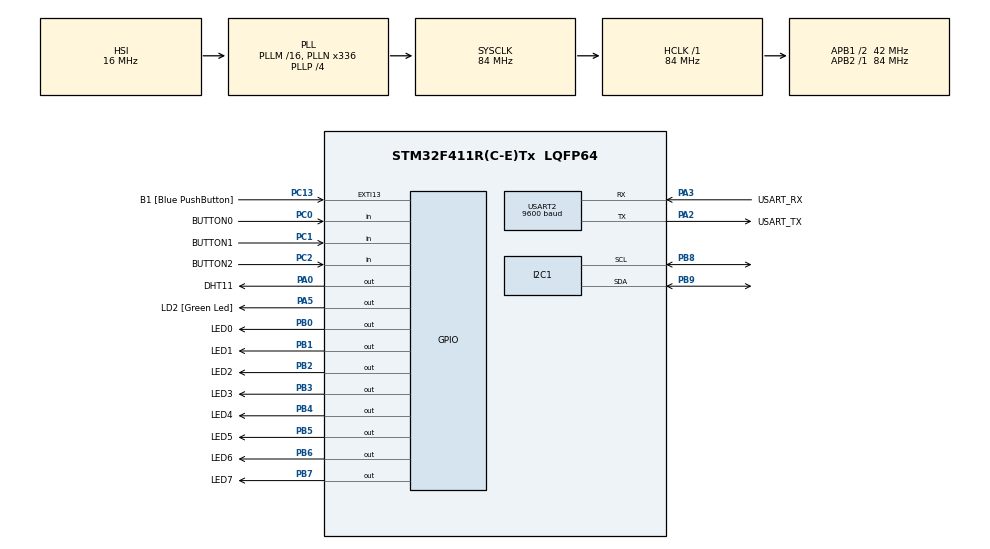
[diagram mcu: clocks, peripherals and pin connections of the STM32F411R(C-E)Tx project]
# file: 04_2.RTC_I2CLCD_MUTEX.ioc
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FREERTOS.Mutexes01=myMutex01,Dynamic,NULL
FREERTOS.Tasks01=defaultTask,24,128,StartDefaultTask,Default,NULL,Dynamic,NULL,NULL;myTask01,8,128,StartTask01,Default,NULL,Dynamic,NULL,NULL;myTask02,8,128,StartTask02,Default,NULL,Dynamic,NULL,NULL
FREERTOS.configUSE_NEWLIB_REENTRANT=1
Mcu.Family=STM32F4
Mcu.Name=STM32F411R(C-E)Tx
Mcu.Package=LQFP64
NVIC.PriorityGroup=NVIC_PRIORITYGROUP_4
NVIC.TIM1_UP_TIM10_IRQn=true\:5\:0\:false\:false\:true\:false\:false\:true
NVIC.TIM2_IRQn=true\:5\:0\:false\:false\:true\:true\:true\:true
NVIC.TimeBase=TIM1_UP_TIM10_IRQn
NVIC.TimeBaseIP=TIM10
NVIC.USART2_IRQn=true\:5\:0\:false\:false\:true\:true\:true\:true
PA0-WKUP.GPIO_Label=DHT11
PA0-WKUP.Signal=GPIO_Output
PA13.GPIO_Label=TMS
PA13.Mode=Serial_Wire
PA13.Signal=SYS_JTMS-SWDIO
PA14.GPIO_Label=TCK
PA14.Mode=Serial_Wire
PA14.Signal=SYS_JTCK-SWCLK
PA2.GPIO_Label=USART_TX
PA2.Mode=Asynchronous
PA2.Signal=USART2_TX
PA3.GPIO_Label=USART_RX
PA3.Mode=Asynchronous
PA3.Signal=USART2_RX
PA5.GPIO_Label=LD2 [Green Led]
PA5.Signal=GPIO_Output
PB0.GPIO_Label=LED0
PB0.Signal=GPIO_Output
PB1.GPIO_Label=LED1
PB1.Signal=GPIO_Output
PB2.GPIO_Label=LED2
PB2.Signal=GPIO_Output
PB3.GPIO_Label=LED3
PB3.Signal=GPIO_Output
PB4.GPIO_Label=LED4
PB4.Signal=GPIO_Output
PB5.GPIO_Label=LED5
PB5.Signal=GPIO_Output
PB6.GPIO_Label=LED6
PB6.Signal=GPIO_Output
PB7.GPIO_Label=LED7
PB7.Signal=GPIO_Output
PB8.Mode=I2C
PB8.Signal=I2C1_SCL
PB9.Mode=I2C
PB9.Signal=I2C1_SDA
PC0.GPIO_Label=BUTTON0
PC0.Signal=GPIO_Input
PC1.GPIO_Label=BUTTON1
PC1.Signal=GPIO_Input
PC13-ANTI_TAMP.GPIO_Label=B1 [Blue PushButton]
PC13-ANTI_TAMP.GPIO_ModeDefaultEXTI=GPIO_MODE_IT_FALLING
PC13-ANTI_TAMP.Signal=GPXTI13
PC14-OSC32_IN.Mode=LSE-External-Oscillator
PC14-OSC32_IN.Signal=RCC_OSC32_IN
PC15-OSC32_OUT.Mode=LSE-External-Oscillator
PC15-OSC32_OUT.Signal=RCC_OSC32_OUT
PC2.GPIO_Label=BUTTON2
PC2.Signal=GPIO_Input
PH0\ -\ OSC_IN.Mode=HSE-External-Clock-Source
PH0\ -\ OSC_IN.Signal=RCC_OSC_IN
PH1\ -\ OSC_OUT.Mode=HSE-External-Clock-Source
PH1\ -\ OSC_OUT.Signal=RCC_OSC_OUT
ProjectManager.HeapSize=0x200
ProjectManager.StackSize=0x400
ProjectManager.TargetToolchain=STM32CubeIDE
RCC.48MHZClocksFreq_Value=84000000
RCC.AHBFreq_Value=84000000
RCC.APB1CLKDivider=RCC_HCLK_DIV2
RCC.APB1Freq_Value=42000000
RCC.APB1TimFreq_Value=84000000
RCC.APB2Freq_Value=84000000
RCC.APB2TimFreq_Value=84000000
RCC.CortexFreq_Value=84000000
RCC.FLatency-AdvancedSettings=FLASH_LATENCY_2
RCC.HCLKFreq_Value=84000000
RCC.HSE_VALUE=8000000
RCC.HSI_VALUE=16000000
RCC.PLLN=336
RCC.PLLP=RCC_PLLP_DIV4
RCC.SYSCLKFreq_VALUE=84000000
RCC.SYSCLKSource=RCC_SYSCLKSOURCE_PLLCLK
RCC.VCOOutputFreq_Value=336000000
RTC.Date=24
RTC.Hours=13
RTC.Minutes=22
RTC.Month=RTC_MONTH_MAY
RTC.WeekDay=RTC_WEEKDAY_FRIDAY
RTC.Year=24
TIM11.Period=65535
TIM11.Prescaler=84-1
TIM2.Period=1000-1
TIM2.Prescaler=84-1
USART2.BaudRate=9600
USART2.VirtualMode=VM_ASYNC
VP_FREERTOS_VS_CMSIS_V2.Mode=CMSIS_V2
VP_RTC_VS_RTC_Activate.Mode=RTC_Enabled
VP_RTC_VS_RTC_Calendar.Mode=RTC_Calendar
VP_SYS_VS_tim10.Mode=TIM10
VP_TIM11_VS_ClockSourceINT.Mode=Enable_Timer
VP_TIM2_VS_ClockSourceINT.Mode=Internal
board=NUCLEO-F411RE

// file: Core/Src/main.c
/* USER CODE BEGIN Header */
/**
  ******************************************************************************
  * @file           : main.c
  * @brief          : Main program body
  ******************************************************************************
  * @attention
  *
  * <h2><center>&copy; Copyright (c) 2024 STMicroelectronics.
  * All rights reserved.</center></h2>
  *
  * This software component is licensed by ST under BSD 3-Clause license,
  * the "License"; You may not use this file except in compliance with the
  * License. You may obtain a copy of the License at:
  *                        opensource.org/licenses/BSD-3-Clause
  *
  ******************************************************************************
  */
/* USER CODE END Header */
#include "main.h"
#include "cmsis_os.h"

I2C_HandleTypeDef hi2c1;

RTC_HandleTypeDef hrtc;

TIM_HandleTypeDef htim2;
TIM_HandleTypeDef htim11;

UART_HandleTypeDef huart2;

/* Definitions for defaultTask */
osThreadId_t defaultTaskHandle;
const osThreadAttr_t defaultTask_attributes = {
  .name = "defaultTask",
  .stack_size = 128 * 4,
  .priority = (osPriority_t) osPriorityNormal,
};
/* Definitions for myTask01 */
osThreadId_t myTask01Handle;
const osThreadAttr_t myTask01_attributes = {
  .name = "myTask01",
  .stack_size = 128 * 4,
  .priority = (osPriority_t) osPriorityLow,
};
/* Definitions for myTask02 */
osThreadId_t myTask02Handle;
const osThreadAttr_t myTask02_attributes = {
  .name = "myTask02",
  .stack_size = 128 * 4,
  .priority = (osPriority_t) osPriorityLow,
};
/* Definitions for myMutex01 */
osMutexId_t myMutex01Handle;
const osMutexAttr_t myMutex01_attributes = {
  .name = "myMutex01"
};
/* USER CODE BEGIN PV */
uint8_t rx_data;

volatile int TIM2_1ms_counter=0;
volatile int TIM3_10ms_counter = 0;
volatile int TIM2_DHT11_counter = 0;
/* USER CODE END PV */

void SystemClock_Config(void);
static void MX_GPIO_Init(void);
static void MX_USART2_UART_Init(void);
static void MX_TIM11_Init(void);
static void MX_TIM2_Init(void);
static void MX_RTC_Init(void);
static void MX_I2C1_Init(void);
void StartDefaultTask(void *argument);
void StartTask01(void *argument);
void StartTask02(void *argument);

/* USER CODE BEGIN PFP */
extern void led_all_on(void);
extern void led_all_off(void);
extern void led2_toggle(void);
extern void led_on_up();
extern void led_on_down();
extern void ledbar0_toggle(void);
extern void ledbar1_toggle(void);
extern void ledbar2_toggle(void);
extern void led_main(void);
extern void button0_check(void);
extern void delay_us(unsigned int us);
extern void DHT11_Init(void);
extern void i2c_lcd_init(void);
extern unsigned char bcd2dec(unsigned char byte);
extern void pc_command_processing();
extern void get_rtc_time(void);
extern void get_rtc_date(void);

/* USER CODE END PFP */

/* USER CODE BEGIN 0 */
//-- call by SysTick_Handler of stm32f4xx_it.c
// SysTick_Handler : ARM core default timer
volatile int t1ms_counter=0;
void HAL_SYSTICK_Handler()
{
	t1ms_counter++;   // 1ms timer counter
}
//------------ printf start -----------------------
#ifdef __GNUC__    // Add for printf
/* With GCC, small printf (option LD Linker->Libraries->Small printf
   set to 'Yes') calls __io_putchar() */
#define PUTCHAR_PROTOTYPE int __io_putchar(int ch)
#else
#define PUTCHAR_PROTOTYPE int fputc(int ch, FILE *f)
#endif /* __GNUC__ */
/**
  * @brief  Retargets the C library printf function to the USART.
  * @param  None
  * @retval None
  */
PUTCHAR_PROTOTYPE   // Add for printf
{
  /* Place your implementation of fputc here */
  /* e.g. write a character to the USART2 and Loop until the end of transmission */
  HAL_UART_Transmit(&huart2, (uint8_t *)&ch, 1, 0xFFFF);

  return ch;
}
//-------------------- printf end --------------------
/* USER CODE END 0 */

int main(void)
{
  /* USER CODE BEGIN 1 */
	int led_state=0;
  /* USER CODE END 1 */

  /* MCU Configuration--------------------------------------------------------*/

  /* Reset of all peripherals, Initializes the Flash interface and the Systick. */
  HAL_Init();

  /* Configure the system clock */
  SystemClock_Config();

  /* Initialize all configured peripherals */
  MX_GPIO_Init();
  MX_USART2_UART_Init();
  MX_TIM11_Init();
  MX_TIM2_Init();
  MX_RTC_Init();
  MX_I2C1_Init();
  /* USER CODE BEGIN 2 */
  HAL_UART_Receive_IT(&huart2, &rx_data, 1);   // assign RX INT
  HAL_TIM_Base_Start_IT(&htim2);  // ADD_SIKWON_0523
  HAL_TIM_Base_Start_IT(&htim11);  // ADD_SIKWON_0523
//  DHT11_Init();
  i2c_lcd_init(); // warning lcd should be connected(because I2C protocol doesn't working)
  /* USER CODE END 2 */

  /* Init scheduler */
  osKernelInitialize();
  /* Create the mutex(es) */
  /* creation of myMutex01 */
  myMutex01Handle = osMutexNew(&myMutex01_attributes);

  /* Create the thread(s) */
  /* creation of defaultTask */
  defaultTaskHandle = osThreadNew(StartDefaultTask, NULL, &defaultTask_attributes);

  /* creation of myTask01 */
  myTask01Handle = osThreadNew(StartTask01, NULL, &myTask01_attributes);

  /* creation of myTask02 */
  myTask02Handle = osThreadNew(StartTask02, NULL, &myTask02_attributes);

  /* Start scheduler */
  osKernelStart();

  /* We should never get here as control is now taken by the scheduler */
  /* Infinite loop */
  /* USER CODE BEGIN WHILE */
  while (1)
  {
//	  led_on_up();
//	  led_on_down();

#if 0
	  if (t1ms_counter >= 500)
	  {
		  t1ms_counter=0;
		  switch(led_state)
		  {
		  case 0:
			  led_all_on();
			  break;
		  case 1:
			  led_all_off();
			  break;
		  case 2:
			  led2_toggle();
			  break;
		  }
		  led_state++;
		  led_state %=3;
	  }
#endif
    /* USER CODE END WHILE */

    /* USER CODE BEGIN 3 */
// enter here !!!!!!
  }
  /* USER CODE END 3 */
}

void SystemClock_Config(void)
{
  RCC_OscInitTypeDef RCC_OscInitStruct = {0};
  RCC_ClkInitTypeDef RCC_ClkInitStruct = {0};

  /** Configure the main internal regulator output voltage
  */
  __HAL_RCC_PWR_CLK_ENABLE();
  __HAL_PWR_VOLTAGESCALING_CONFIG(PWR_REGULATOR_VOLTAGE_SCALE1);
  /** Initializes the RCC Oscillators according to the specified parameters
  * in the RCC_OscInitTypeDef structure.
  */
  RCC_OscInitStruct.OscillatorType = RCC_OSCILLATORTYPE_HSI|RCC_OSCILLATORTYPE_LSI;
  RCC_OscInitStruct.HSIState = RCC_HSI_ON;
  RCC_OscInitStruct.HSICalibrationValue = RCC_HSICALIBRATION_DEFAULT;
  RCC_OscInitStruct.LSIState = RCC_LSI_ON;
  RCC_OscInitStruct.PLL.PLLState = RCC_PLL_ON;
  RCC_OscInitStruct.PLL.PLLSource = RCC_PLLSOURCE_HSI;
  RCC_OscInitStruct.PLL.PLLM = 16;
  RCC_OscInitStruct.PLL.PLLN = 336;
  RCC_OscInitStruct.PLL.PLLP = RCC_PLLP_DIV4;
  RCC_OscInitStruct.PLL.PLLQ = 4;
  if (HAL_RCC_OscConfig(&RCC_OscInitStruct) != HAL_OK)
  {
    Error_Handler();
  }
  /** Initializes the CPU, AHB and APB buses clocks
  */
  RCC_ClkInitStruct.ClockType = RCC_CLOCKTYPE_HCLK|RCC_CLOCKTYPE_SYSCLK
                              |RCC_CLOCKTYPE_PCLK1|RCC_CLOCKTYPE_PCLK2;
  RCC_ClkInitStruct.SYSCLKSource = RCC_SYSCLKSOURCE_PLLCLK;
  RCC_ClkInitStruct.AHBCLKDivider = RCC_SYSCLK_DIV1;
  RCC_ClkInitStruct.APB1CLKDivider = RCC_HCLK_DIV2;
  RCC_ClkInitStruct.APB2CLKDivider = RCC_HCLK_DIV1;

  if (HAL_RCC_ClockConfig(&RCC_ClkInitStruct, FLASH_LATENCY_2) != HAL_OK)
  {
    Error_Handler();
  }
}

static void MX_I2C1_Init(void)
{

  hi2c1.Instance = I2C1;
  hi2c1.Init.ClockSpeed = 100000;
  hi2c1.Init.DutyCycle = I2C_DUTYCYCLE_2;
  hi2c1.Init.OwnAddress1 = 0;
  hi2c1.Init.AddressingMode = I2C_ADDRESSINGMODE_7BIT;
  hi2c1.Init.DualAddressMode = I2C_DUALADDRESS_DISABLE;
  hi2c1.Init.OwnAddress2 = 0;
  hi2c1.Init.GeneralCallMode = I2C_GENERALCALL_DISABLE;
  hi2c1.Init.NoStretchMode = I2C_NOSTRETCH_DISABLE;
  if (HAL_I2C_Init(&hi2c1) != HAL_OK)
  {
    Error_Handler();
  }

}

static void MX_RTC_Init(void)
{

  RTC_TimeTypeDef sTime = {0};
  RTC_DateTypeDef sDate = {0};

  /** Initialize RTC Only
  */
  hrtc.Instance = RTC;
  hrtc.Init.HourFormat = RTC_HOURFORMAT_24;
  hrtc.Init.AsynchPrediv = 127;
  hrtc.Init.SynchPrediv = 255;
  hrtc.Init.OutPut = RTC_OUTPUT_DISABLE;
  hrtc.Init.OutPutPolarity = RTC_OUTPUT_POLARITY_HIGH;
  hrtc.Init.OutPutType = RTC_OUTPUT_TYPE_OPENDRAIN;
  if (HAL_RTC_Init(&hrtc) != HAL_OK)
  {
    Error_Handler();
  }

  /** Initialize RTC and set the Time and Date
  */
  sTime.Hours = 0x13;
  sTime.Minutes = 0x22;
  sTime.Seconds = 0x0;
  sTime.DayLightSaving = RTC_DAYLIGHTSAVING_NONE;
  sTime.StoreOperation = RTC_STOREOPERATION_RESET;
  if (HAL_RTC_SetTime(&hrtc, &sTime, RTC_FORMAT_BCD) != HAL_OK)
  {
    Error_Handler();
  }
  sDate.WeekDay = RTC_WEEKDAY_FRIDAY;
  sDate.Month = RTC_MONTH_MAY;
  sDate.Date = 0x24;
  sDate.Year = 0x24;

  if (HAL_RTC_SetDate(&hrtc, &sDate, RTC_FORMAT_BCD) != HAL_OK)
  {
    Error_Handler();
  }

}

static void MX_TIM2_Init(void)
{

  TIM_ClockConfigTypeDef sClockSourceConfig = {0};
  TIM_MasterConfigTypeDef sMasterConfig = {0};

  htim2.Instance = TIM2;
  htim2.Init.Prescaler = 84-1;
  htim2.Init.CounterMode = TIM_COUNTERMODE_UP;
  htim2.Init.Period = 1000-1;
  htim2.Init.ClockDivision = TIM_CLOCKDIVISION_DIV1;
  htim2.Init.AutoReloadPreload = TIM_AUTORELOAD_PRELOAD_DISABLE;
  if (HAL_TIM_Base_Init(&htim2) != HAL_OK)
  {
    Error_Handler();
  }
  sClockSourceConfig.ClockSource = TIM_CLOCKSOURCE_INTERNAL;
  if (HAL_TIM_ConfigClockSource(&htim2, &sClockSourceConfig) != HAL_OK)
  {
    Error_Handler();
  }
  sMasterConfig.MasterOutputTrigger = TIM_TRGO_RESET;
  sMasterConfig.MasterSlaveMode = TIM_MASTERSLAVEMODE_DISABLE;
  if (HAL_TIMEx_MasterConfigSynchronization(&htim2, &sMasterConfig) != HAL_OK)
  {
    Error_Handler();
  }

}

static void MX_TIM11_Init(void)
{

  htim11.Instance = TIM11;
  htim11.Init.Prescaler = 84-1;
  htim11.Init.CounterMode = TIM_COUNTERMODE_UP;
  htim11.Init.Period = 65535;
  htim11.Init.ClockDivision = TIM_CLOCKDIVISION_DIV1;
  htim11.Init.AutoReloadPreload = TIM_AUTORELOAD_PRELOAD_DISABLE;
  if (HAL_TIM_Base_Init(&htim11) != HAL_OK)
  {
    Error_Handler();
  }

}

static void MX_USART2_UART_Init(void)
{

  huart2.Instance = USART2;
  huart2.Init.BaudRate = 9600;
  huart2.Init.WordLength = UART_WORDLENGTH_8B;
  huart2.Init.StopBits = UART_STOPBITS_1;
  huart2.Init.Parity = UART_PARITY_NONE;
  huart2.Init.Mode = UART_MODE_TX_RX;
  huart2.Init.HwFlowCtl = UART_HWCONTROL_NONE;
  huart2.Init.OverSampling = UART_OVERSAMPLING_16;
  if (HAL_UART_Init(&huart2) != HAL_OK)
  {
    Error_Handler();
  }

}

static void MX_GPIO_Init(void)
{
  GPIO_InitTypeDef GPIO_InitStruct = {0};

  /* GPIO Ports Clock Enable */
  __HAL_RCC_GPIOC_CLK_ENABLE();
  __HAL_RCC_GPIOH_CLK_ENABLE();
  __HAL_RCC_GPIOA_CLK_ENABLE();
  __HAL_RCC_GPIOB_CLK_ENABLE();

  /*Configure GPIO pin Output Level */
  HAL_GPIO_WritePin(GPIOA, DHT11_Pin|LD2_Pin, GPIO_PIN_RESET);

  /*Configure GPIO pin Output Level */
  HAL_GPIO_WritePin(GPIOB, LED0_Pin|LED1_Pin|LED2_Pin|LED3_Pin
                          |LED4_Pin|LED5_Pin|LED6_Pin|LED7_Pin, GPIO_PIN_RESET);

  /*Configure GPIO pin : B1_Pin */
  GPIO_InitStruct.Pin = B1_Pin;
  GPIO_InitStruct.Mode = GPIO_MODE_IT_FALLING;
  GPIO_InitStruct.Pull = GPIO_NOPULL;
  HAL_GPIO_Init(B1_GPIO_Port, &GPIO_InitStruct);

  /*Configure GPIO pins : BUTTON0_Pin BUTTON1_Pin BUTTON2_Pin */
  GPIO_InitStruct.Pin = BUTTON0_Pin|BUTTON1_Pin|BUTTON2_Pin;
  GPIO_InitStruct.Mode = GPIO_MODE_INPUT;
  GPIO_InitStruct.Pull = GPIO_NOPULL;
  HAL_GPIO_Init(GPIOC, &GPIO_InitStruct);

  /*Configure GPIO pins : DHT11_Pin LD2_Pin */
  GPIO_InitStruct.Pin = DHT11_Pin|LD2_Pin;
  GPIO_InitStruct.Mode = GPIO_MODE_OUTPUT_PP;
  GPIO_InitStruct.Pull = GPIO_NOPULL;
  GPIO_InitStruct.Speed = GPIO_SPEED_FREQ_LOW;
  HAL_GPIO_Init(GPIOA, &GPIO_InitStruct);

  /*Configure GPIO pins : LED0_Pin LED1_Pin LED2_Pin LED3_Pin
                           LED4_Pin LED5_Pin LED6_Pin LED7_Pin */
  GPIO_InitStruct.Pin = LED0_Pin|LED1_Pin|LED2_Pin|LED3_Pin
                          |LED4_Pin|LED5_Pin|LED6_Pin|LED7_Pin;
  GPIO_InitStruct.Mode = GPIO_MODE_OUTPUT_PP;
  GPIO_InitStruct.Pull = GPIO_NOPULL;
  GPIO_InitStruct.Speed = GPIO_SPEED_FREQ_LOW;
  HAL_GPIO_Init(GPIOB, &GPIO_InitStruct);

}

void StartDefaultTask(void *argument)
{
  /* USER CODE BEGIN 5 */
  /* Infinite loop */
  for(;;)  // while(1)
  {
	//button0_check();
	pc_command_processing();
    osDelay(1);
  }
  /* USER CODE END 5 */
}

void StartTask01(void *argument)
{
  /* USER CODE BEGIN StartTask01 */
  /* Infinite loop */
  for(;;)
  {
	if(osMutexWait(myMutex01Handle,1000) == osOK){
		// locking process
		// Prevents task switching from happening.
		get_rtc_date();
		osMutexRelease(myMutex01Handle); //unlocking process
		// Allow task switching to occur.
	}
    osDelay(1);
  }
  /* USER CODE END StartTask01 */
}

void StartTask02(void *argument)
{
  /* USER CODE BEGIN StartTask02 */
  /* Infinite loop */
	for (;;) {
		if (osMutexWait(myMutex01Handle, 1000) == osOK) {
			// locking process
			// Prevents task switching from happening.
			get_rtc_time();
			osMutexRelease(myMutex01Handle); //unlocking process
			// Allow task switching to occur.
		}
		osDelay(1);
	}
  /* USER CODE END StartTask02 */
}

void HAL_TIM_PeriodElapsedCallback(TIM_HandleTypeDef *htim)
{
  /* USER CODE BEGIN Callback 0 */
//////
  /* USER CODE END Callback 0 */
  if (htim->Instance == TIM10) {
    HAL_IncTick();
  }
  /* USER CODE BEGIN Callback 1 */
	if (htim->Instance == TIM2)
	{
		TIM2_1ms_counter++;
		TIM2_DHT11_counter++;
	}
  /* USER CODE END Callback 1 */
}

void Error_Handler(void)
{
  __disable_irq();
  while (1)
  {
  }
}

/************************ (C) COPYRIGHT STMicroelectronics *****END OF FILE****/
